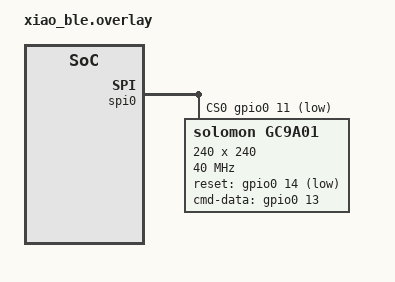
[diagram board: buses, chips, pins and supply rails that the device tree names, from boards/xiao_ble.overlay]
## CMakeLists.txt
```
cmake_minimum_required(VERSION 3.20.0)

find_package(Zephyr REQUIRED HINTS {ZEPHYR_BASE})
project(segment34_watch)

target_sources(app PRIVATE
    src/main.c
    src/components/watchface.c
    src/components/settings.c
    src/components/lunar_calendar.c
    src/locale/locale.c
    src/theme/theme.c
    src/fonts/lv_font_cjk.c
    src/fonts/lv_font_segments80.c
    src/fonts/lv_font_led.c
    src/fonts/lv_font_xsmol.c
    src/fonts/lv_font_battbar.c
    src/fonts/lv_font_moon.c
    src/fonts/lv_font_icons.c
)

target_include_directories(app PRIVATE
    src
    src/components
    src/locale
    src/theme
    src/fonts
)
```

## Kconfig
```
source "Kconfig.zephyr"

# 说明：此前这里定义过 ZSWATCH_ROUND_SCREEN / SEGMENT34_SHOW_LUNAR /
# SEGMENT34_LANGUAGE / SEGMENT34_THEME / SEGMENT34_ROUND_SCREEN 五个选项，
# 但 src/ 里一次都没有引用（默认语言写死在 locale.c，默认主题写死在
# watchface_start()，圆屏布局是硬编码的 240x240）。留着只会让人以为改配置
# 能生效，故一并删除。需要做成可配置项时再连同代码一起加回来。
```

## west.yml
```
manifest:
  remotes:
    - name: zephyrproject-rtos
      url-base: https://github.com/zephyrproject-rtos
    - name: lvgl
      url-base: https://github.com/lvgl

  projects:
    - name: zephyr
      remote: zephyrproject-rtos
      revision: v3.5.0
      import:
        path-prefix: zephyr

    - name: lvgl
      remote: lvgl
      revision: v9.5.0
      path: modules/lib/lvgl
      import:
        path-prefix: modules/lib

    - name: zswatch
      remote: zephyrproject-rtos
      revision: main
      path: modules/zswatch

  self:
    path: app
```

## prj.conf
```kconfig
CONFIG_CONSOLE=y
CONFIG_LOG=y
CONFIG_LOG_DEFAULT_LEVEL=3
CONFIG_CLOCK_CONTROL=y

# ============================================================================
# LVGL configuration - optimized for nRF52840 (1 MB Flash / 256 KB RAM)
#
# Strategy: start from LV_CONF_MINIMAL (everything off) and enable only what
# the watchface actually uses. This trims ~100+ KB of Flash vs. the default
# "everything on" LVGL build.
# ============================================================================
CONFIG_LVGL=y
CONFIG_LV_COLOR_DEPTH_16=y
CONFIG_LV_CONF_MINIMAL=y

# --- Core features (required by the watchface) ---
# LV_CONF_MINIMAL defaults the string encoding to ASCII, which makes LVGL treat
# each byte of a UTF-8 sequence as its own codepoint — every Chinese character
# then renders as 3 placeholder boxes. UTF-8 is required for the CJK rows.
CONFIG_LV_TXT_ENC_UTF8=y
CONFIG_LV_USE_FLEX=y
CONFIG_LV_USE_THEME_DEFAULT=y
CONFIG_LV_FONT_MONTSERRAT_8=y
CONFIG_LV_FONT_MONTSERRAT_10=y
CONFIG_LV_FONT_MONTSERRAT_12=y
CONFIG_LV_FONT_MONTSERRAT_14=y

# --- Widgets: only label + bar + image (everything base obj provides is always on) ---
CONFIG_LV_USE_LABEL=y
CONFIG_LV_USE_BAR=y
CONFIG_LV_USE_IMAGE=y

# --- Memory ---
# LVGL 在 Zephyr 下用的是 LV_Z_MEM_POOL_SYS_HEAP（一块静态 sys_heap），大小由
# LV_Z_MEM_POOL_SIZE 决定。除了 obj/label/样式，绘制时还要临时申请字形的 A8
# 缓冲——segments80 是 42x80，单个字形就要 42x96=4 KB，整块时钟一次全屏重绘
# 要同时开 10 个 label 的缓冲，峰值很高。
#
# 实测：40 KB 会在首次全屏重绘时 OOM（lv_draw_buf_create_ex 返回 NULL，
# 而 lv_draw_label.c:662 不判空，直接段错误），44 KB 才刚够。余量太薄，
# 保持 64 KB 不动。要压这一项得先换掉 42x80 的大字形字体。
CONFIG_LV_Z_MEM_POOL_SIZE=65536

# 注意：CONFIG_LV_MEM_SIZE_KILOBYTES 只在 LV_USE_BUILTIN_MALLOC 时才生效，
# 这里的 LV_USE_STDLIB_MALLOC 是 LV_STDLIB_CUSTOM，那个选项完全无效，
# 原先写的 128 KB 是纯粹的误导，已删除。

# --- Rendering / VDB (10% of screen = ~11.5 KB per buffer) ---
CONFIG_LV_USE_DRAW_SW=y
CONFIG_LV_Z_VDB_SIZE=10
CONFIG_LV_Z_DOUBLE_VDB=y

# --- Logging / asserts ---
# CONFIG_LV_USE_LOG is not set
# CONFIG_LV_USE_ASSERT_NULL is not set
# CONFIG_LV_USE_ASSERT_MALLOC is not set
# ^ 发布构建关掉省 Flash。开发时请在 boards/native_sim.conf 里开，
#   注意它还依赖 CONFIG_ASSERT——LV_ASSERT_HANDLER 映射到 Zephyr 的
#   __ASSERT_NO_MSG()，没有 CONFIG_ASSERT 的话整句会被编译掉，等于没开。

# ============================================================================
# Zephyr kernel / system sizing (conservative for nRF52840)
# ============================================================================
CONFIG_MAIN_STACK_SIZE=8192
CONFIG_SYSTEM_WORKQUEUE_STACK_SIZE=2048

# 内核堆（k_malloc/k_heap）——本项目一处都没用到：LVGL 走的是自己的
# lvgl_heap（LV_Z_MEM_POOL_SIZE），链接后 k_malloc 整个被 GC 掉。
# 原来的 65536 等于白占 64 KB RAM（nRF52840 一共才 256 KB）。
CONFIG_HEAP_MEM_POOL_SIZE=0

# ============================================================================
# Hardware
# ============================================================================
# CONFIG_SENSOR 暂不开启：目前没有任何传感器驱动被使能（BMI270/BMP581 都还是
# 注释状态），开着只会把 sensor 子系统白白链进来。接真实传感器时再打开。
#CONFIG_SENSOR=y
#CONFIG_BMI270=y
#CONFIG_BMP581=y

CONFIG_DISPLAY=y
```

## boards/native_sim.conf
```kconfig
# native_sim (SDL) board configuration
#
# Mirrors the Xiao BLE nRF52840 memory + display configuration so the
# simulation accurately reflects real-hardware resource constraints.
# Differences: SDL display driver, host-native timing, no linker-enforced
# RAM/Flash limits.

CONFIG_LVGL=y
CONFIG_LV_Z_FLUSH_THREAD=y
CONFIG_LV_Z_FLUSH_THREAD_PRIORITY=0

# SDL display + 16 bpp (matches GC9A01)
CONFIG_SDL_DISPLAY=y
CONFIG_LV_COLOR_DEPTH_16=y
CONFIG_LV_CONF_MINIMAL=y

# Same minimal widget set as real hardware
# UTF-8 string encoding — LV_CONF_MINIMAL would otherwise default to ASCII and
# every Chinese character would be drawn as 3 placeholder boxes.
CONFIG_LV_TXT_ENC_UTF8=y
CONFIG_LV_USE_LABEL=y
CONFIG_LV_USE_BAR=y
CONFIG_LV_USE_FLEX=y
CONFIG_LV_USE_THEME_DEFAULT=y
CONFIG_LV_FONT_MONTSERRAT_8=y
CONFIG_LV_FONT_MONTSERRAT_10=y
CONFIG_LV_FONT_MONTSERRAT_12=y
CONFIG_LV_FONT_MONTSERRAT_14=y

# Memory sizing — increased for complex UI with many LVGL objects
CONFIG_LV_Z_MEM_POOL_SIZE=65536
CONFIG_LV_Z_VDB_SIZE=10
CONFIG_LV_Z_DOUBLE_VDB=y

# Logging
CONFIG_LOG=y
CONFIG_LOG_DEFAULT_LEVEL=4

# Kernel sizing — increased for complex UI with many LVGL objects
CONFIG_HEAP_MEM_POOL_SIZE=65536
CONFIG_MAIN_STACK_SIZE=8192
CONFIG_SYSTEM_WORKQUEUE_STACK_SIZE=2048

CONFIG_SEGMENT34_SHOW_LUNAR=y
```

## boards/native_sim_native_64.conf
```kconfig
# native_sim (SDL) board configuration
#
# Mirrors the Xiao BLE nRF52840 memory + display configuration so the
# simulation accurately reflects real-hardware resource constraints.
# Differences: SDL display driver, host-native timing, no linker-enforced
# RAM/Flash limits.

CONFIG_LVGL=y
CONFIG_LV_Z_FLUSH_THREAD=y
CONFIG_LV_Z_FLUSH_THREAD_PRIORITY=0

# SDL display + 16 bpp (matches GC9A01)
CONFIG_SDL_DISPLAY=y
CONFIG_LV_COLOR_DEPTH_16=y
CONFIG_LV_CONF_MINIMAL=y

# Same minimal widget set as real hardware
# UTF-8 string encoding — LV_CONF_MINIMAL would otherwise default to ASCII and
# every Chinese character would be drawn as 3 placeholder boxes.
CONFIG_LV_TXT_ENC_UTF8=y
CONFIG_LV_USE_LABEL=y
CONFIG_LV_USE_BAR=y
CONFIG_LV_USE_FLEX=y
CONFIG_LV_USE_THEME_DEFAULT=y
CONFIG_LV_FONT_MONTSERRAT_8=y
CONFIG_LV_FONT_MONTSERRAT_10=y
CONFIG_LV_FONT_MONTSERRAT_12=y
CONFIG_LV_FONT_MONTSERRAT_14=y

# Memory sizing — increased for complex UI with many LVGL objects
CONFIG_LV_Z_MEM_POOL_SIZE=65536
CONFIG_LV_Z_VDB_SIZE=10
CONFIG_LV_Z_DOUBLE_VDB=y

# Logging
CONFIG_LOG=y
CONFIG_LOG_DEFAULT_LEVEL=4

# 开发期护栏：LVGL 申请不到内存时给一句明确的断言，而不是让
# lv_draw_label.c:662 拿着 NULL 往下写（表现为莫名其妙的段错误）。
# 两个都要开：LV_ASSERT_HANDLER 映射到 Zephyr 的 __ASSERT_NO_MSG()，
# 没有 CONFIG_ASSERT 就会被整句编译掉。
CONFIG_ASSERT=y
CONFIG_LV_USE_ASSERT_MALLOC=y

# Kernel sizing — 与 prj.conf 保持一致，内核堆无人使用
CONFIG_MAIN_STACK_SIZE=8192
CONFIG_SYSTEM_WORKQUEUE_STACK_SIZE=2048

# SDL 鼠标/触摸输入 → LVGL 指针设备
# INPUT_SDL_TOUCH：启用 Zephyr SDL 触摸输入驱动
# LV_Z_POINTER_INPUT：让 LVGL 从 DT 中的 zephyr,lvgl-pointer-input 节点读取指针事件
CONFIG_INPUT=y
CONFIG_INPUT_SDL_TOUCH=y
CONFIG_LV_Z_POINTER_INPUT=y
```

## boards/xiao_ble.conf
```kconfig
# Board-specific config for Seeed XIAO BLE nRF52840
# nRF52840: 1024 KB Flash / 256 KB RAM

# Display driver for GC9A01 round 240x240 LCD via SPI
CONFIG_DISPLAY=y
CONFIG_GC9A01=y
CONFIG_SPI=y

# Use the dedicated SPI flash for littlefs / settings
# (leave CONFIG_SPI=y already set above

# GPIO for display control pins
CONFIG_GPIO=y

# Serial console (USB CDC ACM on Xiao BLE)
CONFIG_SERIAL=y
CONFIG_UART_INTERRUPT_DRIVEN=y
CONFIG_CONSOLE=y
CONFIG_UART_CONSOLE=y
CONFIG_USB_DEVICE_STACK=y
CONFIG_USB_DEVICE_PRODUCT="LVGL Watch"
CONFIG_USB_CDC_ACM=y
CONFIG_USB_CDC_ACM_DEVICE_COUNT=1

# Logging
CONFIG_LOG=y
CONFIG_LOG_MODE_IMMEDIATE=y
CONFIG_LOG_DEFAULT_LEVEL=3
CONFIG_LOG_BACKEND_UART=y

# LVGL on nRF52840 is RAM-constrained; tighten sizing already in prj.conf.
# Board-specific tuning:
#  - Double VDB stays (23KB total for 240x240 @ 16bpp @ 10%
#  - Flush on work queue runs in main loop rather than a separate thread
#    (saves a thread stack, and flush thread overhead)
CONFIG_LV_Z_VDB_SIZE=10
CONFIG_LV_Z_DOUBLE_VBUF=y
# CONFIG_LV_Z_FLUSH_THREAD is not set

# Power management (low-power watch use)
CONFIG_PM=y

# Low-frequency clock source for nRF52
CONFIG_CLOCK_CONTROL_NRF=y
```

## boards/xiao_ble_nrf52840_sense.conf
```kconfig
# Board-specific config for Seeed XIAO BLE nRF52840
# nRF52840: 1024 KB Flash / 256 KB RAM

# Display driver for GC9A01 round 240x240 LCD via SPI
CONFIG_DISPLAY=y
CONFIG_GC9X01X=y   # 驱动开关名，配合 galaxycore,gc9x01x 绑定
CONFIG_SPI=y
CONFIG_MIPI_DBI=y

# Use the dedicated SPI flash for littlefs / settings
# (leave CONFIG_SPI=y already set above

# GPIO for display control pins
CONFIG_GPIO=y

# Serial console.
# 这里原来还开了一整套 USB Device + CDC ACM（约 20 KB Flash），但控制台走的是
# CONFIG_UART_CONSOLE（板级 dtsi 把 uart0 设为 zephyr,console），USB 那一套
# 没有任何东西用到；而且 USB_DEVICE_STACK / USB_DEVICE_DRIVER 在 Zephyr 4.4
# 已标记 deprecated，CONFIG_USB_CDC_ACM_DEVICE_COUNT 这个符号更是已经不存在
# （会直接报 Kconfig 警告导致构建中止）。需要 USB 串口时请改用新的 USB device
# next 栈（CONFIG_USB_DEVICE_STACK_NEXT）。
CONFIG_SERIAL=y
CONFIG_UART_INTERRUPT_DRIVEN=y
CONFIG_CONSOLE=y
CONFIG_UART_CONSOLE=y

# Logging
CONFIG_LOG=y
CONFIG_LOG_MODE_IMMEDIATE=y
CONFIG_LOG_DEFAULT_LEVEL=3
CONFIG_LOG_BACKEND_UART=y

# LVGL on nRF52840 is RAM-constrained; tighten sizing already in prj.conf.
# Board-specific tuning:
#  - VDB = 10% of 240x240 @ 16bpp = 11.5 KB per buffer, 双缓冲共 23 KB
#  - Flush 在主循环里做，不额外起线程（省一个线程栈）
# 注意：这里原来写的是 CONFIG_LV_Z_DOUBLE_VBUF，Kconfig 里并没有这个符号
# （正确的是 LV_Z_DOUBLE_VDB），等于一行空配置。
CONFIG_LV_Z_VDB_SIZE=10
CONFIG_LV_Z_DOUBLE_VDB=y
# CONFIG_LV_Z_FLUSH_THREAD is not set

# Power management
# 暂不开启 CONFIG_PM：应用里没有任何设备做 PM 状态管理，开着只会引入 idle
# 时的电源状态切换逻辑，还会触发 Kconfig 告警。真正做低功耗时再连同
# 显示背光/SPI 的 runtime PM 一起加。
# CONFIG_PM=y

# Low-frequency clock source for nRF52
CONFIG_CLOCK_CONTROL_NRF=y
```

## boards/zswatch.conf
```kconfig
CONFIG_LVGL=y
CONFIG_LV_Z_FLUSH_THREAD=y
CONFIG_LV_Z_FLUSH_THREAD_PRIORITY=0
CONFIG_LV_Z_DOUBLE_VBUF=y
CONFIG_LV_Z_DRAW_BUF_SIZE=8192
CONFIG_LV_Z_HOR_RES_MAX=240
CONFIG_LV_Z_VER_RES_MAX=240
CONFIG_LV_USE_LABEL=y
CONFIG_LV_USE_BAR=y
CONFIG_LV_USE_LINE=y
CONFIG_LV_USE_ARC=y
CONFIG_LV_USE_CONTAINER=y
CONFIG_LV_USE_BUTTON=y
CONFIG_LV_USE_FONT_MONTSERRAT_10=y
CONFIG_LV_USE_FONT_MONTSERRAT_12=y
CONFIG_LV_USE_FONT_MONTSERRAT_14=y
CONFIG_LV_USE_FONT_MONTSERRAT_16=y
CONFIG_LV_USE_FONT_MONTSERRAT_20=y
CONFIG_LV_USE_FONT_MONTSERRAT_24=y
CONFIG_LV_USE_FONT_MONTSERRAT_32=y

CONFIG_TIME=y
CONFIG_DATE_TIME=y

CONFIG_LOG=y
CONFIG_LOG_DEFAULT_LEVEL=INF

CONFIG_SEGMENT34_LANG_EN=y
CONFIG_SEGMENT34_LANG_ZH=y
CONFIG_SEGMENT34_DEFAULT_LANG="zh"
CONFIG_SEGMENT34_SHOW_LUNAR=y
CONFIG_SEGMENT34_SHOW_WEATHER=y
CONFIG_SEGMENT34_SHOW_SECONDS=y

CONFIG_HEAP_MEM_POOL_SIZE=16384
CONFIG_MAIN_STACK_SIZE=8192
CONFIG_SYSTEM_WORKQUEUE_STACK_SIZE=4096

CONFIG_DISPLAY=y
CONFIG_GC9A01=y

CONFIG_I2C=y
CONFIG_SPI=y
```

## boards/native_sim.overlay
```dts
/*
 * native_sim device tree overlay:
 * Force the SDL display to 240x240 to match the real hardware (GC9A01 round
 * 240x240 display on Xiao BLE). This ensures widget layout and buffer sizes
 * are tested at the real resolution even in the simulator.
 */

/ {
    chosen {
        zephyr,display = &sdl_dc;
    };
};

&sdl_dc {
    width = <240>;
    height = <240>;
};
```

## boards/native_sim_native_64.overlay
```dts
/*
 * native_sim device tree overlay:
 * Force the SDL display to 240x240 to match the real hardware (GC9A01 round
 * 240x240 display on Xiao BLE). This ensures widget layout and buffer sizes
 * are tested at the real resolution even in the simulator.
 */

/ {
    chosen {
        zephyr,display = &sdl_dc;
    };

    input_sdl_touch: input-sdl-touch {
        compatible = "zephyr,input-sdl-touch";
        display = <&sdl_dc>;
    };

    lvgl_pointer {
        compatible = "zephyr,lvgl-pointer-input";
        input = <&input_sdl_touch>;
        display = <&sdl_dc>;
        status = "okay";
    };
};

&sdl_dc {
    width = <240>;
    height = <240>;
};
```

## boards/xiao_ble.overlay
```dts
/*
 * Device tree overlay for Seeed XIAO BLE nRF52840 + GC9A01 240x240 round display.
 *
 * Wiring (GC9A01 SPI -> nRF52840 / XIAO BLE):
 *   VCC   -> 3V3
 *   GND   -> GND
 *   DIN   -> P0.10 (MOSI / SPI0)
 *   CLK   -> P0.09 (SCK  / SPI0)
 *   CS    -> P0.11 (GPIO output, active low)
 *   DC    -> P0.13 (GPIO output, high=data / low=command)
 *   RST   -> P0.14 (GPIO output, active low)
 *   BL    -> P0.12 (GPIO output, high=backlight on)
 */

#include <dt-bindings/gpio/gpio.h>

/ {
    chosen {
        zephyr,display = &gc9a01;
    };
};

&spi0 {
    status = "okay";
    cs-gpios = <&gpio0 11 GPIO_ACTIVE_LOW>;

    gc9a01: display@0 {
        compatible = "solomon,gc9a01";
        reg = <0>;
        spi-max-frequency = <40000000>;
        reset-gpios = <&gpio0 14 GPIO_ACTIVE_LOW>;
        cmd-data-gpios = <&gpio0 13 GPIO_ACTIVE_HIGH>;
        width = <240>;
        height = <240>;
        status = "okay";
    };
};
```

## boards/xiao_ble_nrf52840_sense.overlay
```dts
/*
 * Device tree overlay for Seeed XIAO BLE nRF52840 (Sense) + GC9A01 240x240 圆屏。
 *
 * 接线（GC9A01 -> XIAO BLE 排针）：
 *   VCC  -> 3V3
 *   GND  -> GND
 *   CLK  -> D8  (P1.13, SPI2 SCK)
 *   DIN  -> D10 (P1.15, SPI2 MOSI)
 *   CS   -> D3  (P0.29, GPIO 低有效)
 *   DC   -> D6  (P1.11, 高=数据 / 低=命令)
 *   RST  -> D7  (P1.12, 低有效)
 *   BL   -> D5  (P0.05, 高=背光亮，暂由外部直接上拉，未在此声明)
 *
 * 这份 overlay 原来在 Zephyr 4.4 上根本编不过，两处修正：
 *
 * 1. compatible 从 "solomon,gc9a01" 改成 "galaxycore,gc9x01x"。
 *    Zephyr 里 GC9A01 的绑定就叫后者（dts/bindings/display/galaxycore,gc9x01x.yaml，
 *    驱动开关 CONFIG_GC9X01X）；前者不存在，于是 chosen 的 zephyr,display 解析
 *    不到节点，main.c 里 DEVICE_DT_GET(DT_CHOSEN(zephyr_display)) 直接编译失败。
 *    这个绑定还要求挂在 zephyr,mipi-dbi-spi 节点下，不能直接挂在 &spi0 上。
 *
 * 2. 引脚改到排针实际引出的脚。XIAO BLE 只引出 D0-D10 =
 *    P0.02/P0.03/P0.28/P0.29/P0.04/P0.05/P1.11/P1.12/P1.13/P1.14/P1.15
 *    （见 zephyr/boards/seeed/xiao_ble/seeed_xiao_connector.dtsi），
 *    原来写的 P0.09-P0.14 一个都没引出来（P0.09/P0.10 是 NFC 焊盘）。
 *    而且 nRF52840 的 spi0 与 uart0 共用 SERIAL0 实例，板级 dtsi 已把 uart0
 *    用作控制台，spi0 用不了；板子留给排针的就是 spi2（别名 xiao_spi）。
 */

#include <zephyr/dt-bindings/gpio/gpio.h>
#include <zephyr/dt-bindings/display/panel.h>

/ {
    chosen {
        zephyr,display = &gc9a01;
    };

    mipi_dbi_gc9a01: mipi-dbi-gc9a01 {
        compatible = "zephyr,mipi-dbi-spi";
        status = "okay";
        #address-cells = <1>;
        #size-cells = <0>;

        spi-dev = <&xiao_spi>;
        dc-gpios = <&gpio1 11 GPIO_ACTIVE_HIGH>;    /* D6 */
        reset-gpios = <&gpio1 12 GPIO_ACTIVE_LOW>;  /* D7 */

        gc9a01: gc9x01x@0 {
            compatible = "galaxycore,gc9x01x";
            reg = <0>;
            mipi-max-frequency = <DT_FREQ_M(32)>;
            pixel-format = <PANEL_PIXEL_FORMAT_RGB_565>;
            width = <240>;
            height = <240>;
            display-inversion;
        };
    };
};

&xiao_spi {
    status = "okay";
    cs-gpios = <&gpio0 29 GPIO_ACTIVE_LOW>;         /* D3 */
};
```

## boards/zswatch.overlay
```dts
& {
    chosen {
        zephyr,display = &display;
        zephyr,console = &uart0;
    };

    display: display@0 {
        compatible = "solomon,gc9a01";
        reg = <0>;
        spi-max-frequency = <32000000>;
        reset-gpios = <&gpio0 14 GPIO_ACTIVE_LOW>;
        dc-gpios = <&gpio0 13 GPIO_ACTIVE_HIGH>;
        bl-gpios = <&gpio0 12 GPIO_ACTIVE_HIGH>;
        width = <240>;
        height = <240>;
        rotation = <0>;
        status = "okay";
    };

    spi0: spi@40003000 {
        status = "okay";
        cs-gpios = <&gpio0 11 GPIO_ACTIVE_LOW>;
    };
}
```

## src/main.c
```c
#include <zephyr/kernel.h>
#include <zephyr/logging/log.h>
#include <zephyr/sys/printk.h>
#include <zephyr/device.h>
#include <zephyr/drivers/display.h>

#include <lvgl.h>

#include "watchface.h"

LOG_MODULE_REGISTER(main, LOG_LEVEL_INF);
/*
 * LVGL is brought up by the Zephyr LVGL module via lvgl_init(), which runs as a
 * SYS_INIT at INIT_LEVEL_APPLICATION (i.e. before main()). It already takes care
 * of lv_init(), creating the display bound to the Zephyr display driver (with
 * rendering buffers allocated), applying the default theme, and wiring up the
 * LVGL tick through lv_tick_set_cb(k_uptime_get_32).
 *
 * Therefore this application must NOT call lv_init()/lv_display_create()/
 * lv_theme_default_init() or set up its own tick timer: doing so creates a
 * second display without rendering buffers that becomes the default display,
 * which makes lv_timer_handler() crash when it tries to render.
 */
int main(void)
{
    LOG_INF("Segment34 Watchface starting...");

    /* Turn on the display — Zephyr displays start blanked by default.
     * Without this, native_sim shows a transparent/empty window. */
    const struct device *display = DEVICE_DT_GET(DT_CHOSEN(zephyr_display));
    if (!device_is_ready(display)) {
        LOG_ERR("Display device not ready");
        return -1;
    }
    display_blanking_off(display);

    watchface_start();

    while (1) {
        lv_timer_handler();
        k_msleep(5);
    }

    return 0;
}
```
